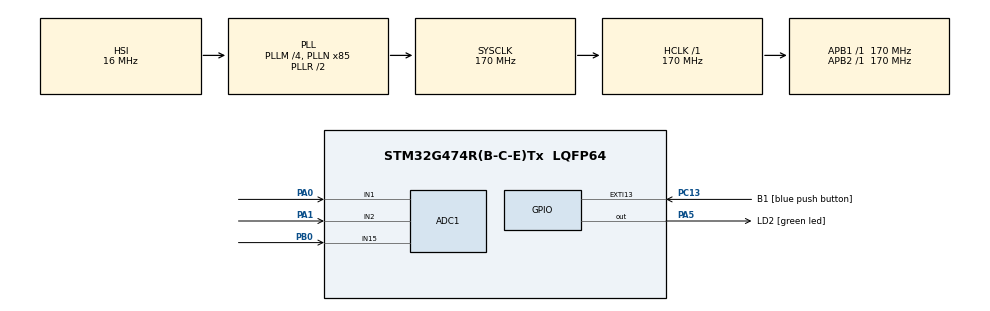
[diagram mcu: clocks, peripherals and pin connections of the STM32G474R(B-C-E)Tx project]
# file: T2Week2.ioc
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ADC1.Channel-0\#ChannelRegularConversion=ADC_CHANNEL_1
ADC1.Channel-1\#ChannelRegularConversion=ADC_CHANNEL_2
ADC1.Channel-2\#ChannelRegularConversion=ADC_CHANNEL_15
ADC1.ContinuousConvMode=ENABLE
ADC1.DMAContinuousRequests=ENABLE
ADC1.DiscontinuousConvMode=DISABLE
ADC1.NbrOfConversion=3
ADC1.NbrOfConversionFlag=1
ADC1.OffsetNumber-0\#ChannelRegularConversion=ADC_OFFSET_NONE
ADC1.OffsetNumber-1\#ChannelRegularConversion=ADC_OFFSET_NONE
ADC1.OffsetNumber-2\#ChannelRegularConversion=ADC_OFFSET_NONE
ADC1.Rank-0\#ChannelRegularConversion=1
ADC1.Rank-1\#ChannelRegularConversion=2
ADC1.Rank-2\#ChannelRegularConversion=3
ADC1.SamplingTime-0\#ChannelRegularConversion=ADC_SAMPLETIME_640CYCLES_5
ADC1.SamplingTime-1\#ChannelRegularConversion=ADC_SAMPLETIME_640CYCLES_5
ADC1.SamplingTime-2\#ChannelRegularConversion=ADC_SAMPLETIME_640CYCLES_5
ADC1.master=1
Dma.ADC1.0.Direction=DMA_PERIPH_TO_MEMORY
Dma.ADC1.0.EventEnable=DISABLE
Dma.ADC1.0.Instance=DMA1_Channel1
Dma.ADC1.0.MemDataAlignment=DMA_MDATAALIGN_HALFWORD
Dma.ADC1.0.MemInc=DMA_MINC_ENABLE
Dma.ADC1.0.Mode=DMA_CIRCULAR
Dma.ADC1.0.PeriphDataAlignment=DMA_PDATAALIGN_HALFWORD
Dma.ADC1.0.PeriphInc=DMA_PINC_DISABLE
Dma.ADC1.0.Polarity=HAL_DMAMUX_REQ_GEN_RISING
Dma.ADC1.0.Priority=DMA_PRIORITY_LOW
Dma.ADC1.0.RequestNumber=1
Dma.ADC1.0.SignalID=NONE
Dma.ADC1.0.SyncEnable=DISABLE
Dma.ADC1.0.SyncPolarity=HAL_DMAMUX_SYNC_NO_EVENT
Dma.ADC1.0.SyncRequestNumber=1
Dma.ADC1.0.SyncSignalID=NONE
Dma.Request0=ADC1
Mcu.Family=STM32G4
Mcu.Name=STM32G474R(B-C-E)Tx
Mcu.Package=LQFP64
NVIC.ADC1_2_IRQn=true\:0\:0\:false\:false\:true\:true\:true\:true
NVIC.DMA1_Channel1_IRQn=true\:0\:0\:false\:false\:true\:false\:true\:true
NVIC.EXTI15_10_IRQn=true\:0\:0\:false\:false\:true\:true\:true\:true
NVIC.PriorityGroup=NVIC_PRIORITYGROUP_4
PA0.Mode=IN1-Single-Ended
PA0.Signal=ADC1_IN1
PA1.Mode=IN2-Single-Ended
PA1.Signal=ADC1_IN2
PA13.GPIO_Label=T_SWDIO
PA13.Signal=SYS_JTMS-SWDIO
PA14.GPIO_Label=T_SWCLK
PA14.Signal=SYS_JTCK-SWCLK
PA2.GPIO_Label=LPUART1_TX [STLINKV3E_VCP_RX]
PA2.Signal=LPUART1_TX
PA3.GPIO_Label=LPUART1_RX [STLINKV3E_VCP_TX]
PA3.Signal=LPUART1_RX
PA5.GPIO_Label=LD2 [green led]
PA5.Signal=GPIO_Output
PB0.Mode=IN15-Single-Ended
PB0.Signal=ADC1_IN15
PB3.GPIO_Label=T_SWO
PB3.Signal=SYS_JTDO-SWO
PC13.GPIO_Label=B1 [blue push button]
PC13.Signal=GPXTI13
PC14-OSC32_IN.GPIO_Label=RCC_OSC32_IN
PC14-OSC32_IN.Signal=RCC_OSC32_IN
PC15-OSC32_OUT.GPIO_Label=RCC_OSC32_OUT
PC15-OSC32_OUT.Signal=RCC_OSC32_OUT
PF0-OSC_IN.GPIO_Label=RCC_OSC_IN
PF0-OSC_IN.Signal=RCC_OSC_IN
PF1-OSC_OUT.GPIO_Label=RCC_OSC_OUT
PF1-OSC_OUT.Signal=RCC_OSC_OUT
ProjectManager.HeapSize=0x200
ProjectManager.StackSize=0x400
ProjectManager.TargetToolchain=STM32CubeIDE
RCC.ADC12Freq_Value=170000000
RCC.ADC345Freq_Value=170000000
RCC.AHBFreq_Value=170000000
RCC.APB1Freq_Value=170000000
RCC.APB1TimFreq_Value=170000000
RCC.APB2Freq_Value=170000000
RCC.APB2TimFreq_Value=170000000
RCC.CortexFreq_Value=170000000
RCC.EXTERNAL_CLOCK_VALUE=12288000
RCC.HCLKFreq_Value=170000000
RCC.HSE_VALUE=24000000
RCC.HSI48_VALUE=48000000
RCC.HSI_VALUE=16000000
RCC.LSE_VALUE=32768
RCC.PLLM=RCC_PLLM_DIV4
RCC.PLLN=85
RCC.RTCClockSelection=RCC_RTCCLKSOURCE_LSE
RCC.SYSCLKFreq_VALUE=170000000
RCC.SYSCLKSource=RCC_SYSCLKSOURCE_PLLCLK
RCC.USBFreq_Value=170000000
RCC.VCOOutputFreq_Value=340000000
VP_ADC1_TempSens_Input.Mode=IN-TempSens
VP_SYS_VS_DBSignals.Mode=DisableDeadBatterySignals
board=NUCLEO-G474RE

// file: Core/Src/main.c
/* USER CODE BEGIN Header */
/**
  ******************************************************************************
  * @file           : main.c
  * @brief          : Main program body
  ******************************************************************************
  * @attention
  *
  * Copyright (c) 2026 STMicroelectronics.
  * All rights reserved.
  *
  * This software is licensed under terms that can be found in the LICENSE file
  * in the root directory of this software component.
  * If no LICENSE file comes with this software, it is provided AS-IS.
  *
  ******************************************************************************
  */
/* USER CODE END Header */
#include "main.h"

ADC_HandleTypeDef hadc1;
DMA_HandleTypeDef hdma_adc1;

/* USER CODE BEGIN PV */

uint16_t ADC_RawRead[15]={0};

enum _ADCRankChenel1
{
eADC1Rank1_Ch1,
eADC1Rank1_Ch2,
eADC1Rank1_Ch15,
eADC1Rank1_ChTemp,
eADC1RankMax
};

typedef struct
{
    uint8_t CurrentRank;           // ลำดับช่องที่กำลังอ่าน
    volatile uint8_t DataReady;    // Flag บอกว่าอ่านครบทุกช่องแล้ว
    uint16_t DataRaw[eADC1RankMax]; // ค่าดิบจาก ADC
    float DataFiltered[3];
} sADC_t;

sADC_t sADC = {0};

/* USER CODE END PV */

void SystemClock_Config(void);
static void MX_GPIO_Init(void);
static void MX_DMA_Init(void);
static void MX_ADC1_Init(void);
/* USER CODE BEGIN PFP */
void HeartBeat_Task();
void ADCProcess_Task();
/* USER CODE END PFP */

int main(void)
{

  /* MCU Configuration--------------------------------------------------------*/

  /* Reset of all peripherals, Initializes the Flash interface and the Systick. */
  HAL_Init();

  /* Configure the system clock */
  SystemClock_Config();

  /* Initialize all configured peripherals */
  MX_GPIO_Init();
  MX_DMA_Init();
  MX_ADC1_Init();
  /* USER CODE BEGIN 2 */
  HAL_ADCEx_Calibration_Start(&hadc1, ADC_SINGLE_ENDED);
  HAL_ADC_Start_DMA(&hadc1, (uint32_t*)ADC_RawRead, 15);
  /* USER CODE END 2 */

  /* Infinite loop */
  while (1)
  {

    /* USER CODE BEGIN 3 */
	  HeartBeat_Task();
	  ADCProcess_Task();
  }
  /* USER CODE END 3 */
}

void SystemClock_Config(void)
{
  RCC_OscInitTypeDef RCC_OscInitStruct = {0};
  RCC_ClkInitTypeDef RCC_ClkInitStruct = {0};

  /** Configure the main internal regulator output voltage
  */
  HAL_PWREx_ControlVoltageScaling(PWR_REGULATOR_VOLTAGE_SCALE1_BOOST);

  /** Initializes the RCC Oscillators according to the specified parameters
  * in the RCC_OscInitTypeDef structure.
  */
  RCC_OscInitStruct.OscillatorType = RCC_OSCILLATORTYPE_HSI;
  RCC_OscInitStruct.HSIState = RCC_HSI_ON;
  RCC_OscInitStruct.HSICalibrationValue = RCC_HSICALIBRATION_DEFAULT;
  RCC_OscInitStruct.PLL.PLLState = RCC_PLL_ON;
  RCC_OscInitStruct.PLL.PLLSource = RCC_PLLSOURCE_HSI;
  RCC_OscInitStruct.PLL.PLLM = RCC_PLLM_DIV4;
  RCC_OscInitStruct.PLL.PLLN = 85;
  RCC_OscInitStruct.PLL.PLLP = RCC_PLLP_DIV2;
  RCC_OscInitStruct.PLL.PLLQ = RCC_PLLQ_DIV2;
  RCC_OscInitStruct.PLL.PLLR = RCC_PLLR_DIV2;
  if (HAL_RCC_OscConfig(&RCC_OscInitStruct) != HAL_OK)
  {
    Error_Handler();
  }

  /** Initializes the CPU, AHB and APB buses clocks
  */
  RCC_ClkInitStruct.ClockType = RCC_CLOCKTYPE_HCLK|RCC_CLOCKTYPE_SYSCLK
                              |RCC_CLOCKTYPE_PCLK1|RCC_CLOCKTYPE_PCLK2;
  RCC_ClkInitStruct.SYSCLKSource = RCC_SYSCLKSOURCE_PLLCLK;
  RCC_ClkInitStruct.AHBCLKDivider = RCC_SYSCLK_DIV1;
  RCC_ClkInitStruct.APB1CLKDivider = RCC_HCLK_DIV1;
  RCC_ClkInitStruct.APB2CLKDivider = RCC_HCLK_DIV1;

  if (HAL_RCC_ClockConfig(&RCC_ClkInitStruct, FLASH_LATENCY_4) != HAL_OK)
  {
    Error_Handler();
  }
}

static void MX_ADC1_Init(void)
{

  ADC_MultiModeTypeDef multimode = {0};
  ADC_ChannelConfTypeDef sConfig = {0};

  /** Common config
  */
  hadc1.Instance = ADC1;
  hadc1.Init.ClockPrescaler = ADC_CLOCK_SYNC_PCLK_DIV4;
  hadc1.Init.Resolution = ADC_RESOLUTION_12B;
  hadc1.Init.DataAlign = ADC_DATAALIGN_RIGHT;
  hadc1.Init.GainCompensation = 0;
  hadc1.Init.ScanConvMode = ADC_SCAN_ENABLE;
  hadc1.Init.EOCSelection = ADC_EOC_SINGLE_CONV;
  hadc1.Init.LowPowerAutoWait = DISABLE;
  hadc1.Init.ContinuousConvMode = ENABLE;
  hadc1.Init.NbrOfConversion = 3;
  hadc1.Init.DiscontinuousConvMode = DISABLE;
  hadc1.Init.ExternalTrigConv = ADC_SOFTWARE_START;
  hadc1.Init.ExternalTrigConvEdge = ADC_EXTERNALTRIGCONVEDGE_NONE;
  hadc1.Init.DMAContinuousRequests = ENABLE;
  hadc1.Init.Overrun = ADC_OVR_DATA_PRESERVED;
  hadc1.Init.OversamplingMode = DISABLE;
  if (HAL_ADC_Init(&hadc1) != HAL_OK)
  {
    Error_Handler();
  }

  /** Configure the ADC multi-mode
  */
  multimode.Mode = ADC_MODE_INDEPENDENT;
  if (HAL_ADCEx_MultiModeConfigChannel(&hadc1, &multimode) != HAL_OK)
  {
    Error_Handler();
  }

  /** Configure Regular Channel
  */
  sConfig.Channel = ADC_CHANNEL_1;
  sConfig.Rank = ADC_REGULAR_RANK_1;
  sConfig.SamplingTime = ADC_SAMPLETIME_640CYCLES_5;
  sConfig.SingleDiff = ADC_SINGLE_ENDED;
  sConfig.OffsetNumber = ADC_OFFSET_NONE;
  sConfig.Offset = 0;
  if (HAL_ADC_ConfigChannel(&hadc1, &sConfig) != HAL_OK)
  {
    Error_Handler();
  }

  /** Configure Regular Channel
  */
  sConfig.Channel = ADC_CHANNEL_2;
  sConfig.Rank = ADC_REGULAR_RANK_2;
  if (HAL_ADC_ConfigChannel(&hadc1, &sConfig) != HAL_OK)
  {
    Error_Handler();
  }

  /** Configure Regular Channel
  */
  sConfig.Channel = ADC_CHANNEL_15;
  sConfig.Rank = ADC_REGULAR_RANK_3;
  if (HAL_ADC_ConfigChannel(&hadc1, &sConfig) != HAL_OK)
  {
    Error_Handler();
  }

}

static void MX_DMA_Init(void)
{

  /* DMA controller clock enable */
  __HAL_RCC_DMAMUX1_CLK_ENABLE();
  __HAL_RCC_DMA1_CLK_ENABLE();

  /* DMA interrupt init */
  /* DMA1_Channel1_IRQn interrupt configuration */
  HAL_NVIC_SetPriority(DMA1_Channel1_IRQn, 0, 0);
  HAL_NVIC_EnableIRQ(DMA1_Channel1_IRQn);

}

static void MX_GPIO_Init(void)
{
  GPIO_InitTypeDef GPIO_InitStruct = {0};

  /* GPIO Ports Clock Enable */
  __HAL_RCC_GPIOC_CLK_ENABLE();
  __HAL_RCC_GPIOF_CLK_ENABLE();
  __HAL_RCC_GPIOA_CLK_ENABLE();
  __HAL_RCC_GPIOB_CLK_ENABLE();

  /*Configure GPIO pin Output Level */
  HAL_GPIO_WritePin(LD2_GPIO_Port, LD2_Pin, GPIO_PIN_RESET);

  /*Configure GPIO pin : B1_Pin */
  GPIO_InitStruct.Pin = B1_Pin;
  GPIO_InitStruct.Mode = GPIO_MODE_IT_RISING;
  GPIO_InitStruct.Pull = GPIO_NOPULL;
  HAL_GPIO_Init(B1_GPIO_Port, &GPIO_InitStruct);

  /*Configure GPIO pins : LPUART1_TX_Pin LPUART1_RX_Pin */
  GPIO_InitStruct.Pin = LPUART1_TX_Pin|LPUART1_RX_Pin;
  GPIO_InitStruct.Mode = GPIO_MODE_AF_PP;
  GPIO_InitStruct.Pull = GPIO_NOPULL;
  GPIO_InitStruct.Speed = GPIO_SPEED_FREQ_LOW;
  GPIO_InitStruct.Alternate = GPIO_AF12_LPUART1;
  HAL_GPIO_Init(GPIOA, &GPIO_InitStruct);

  /*Configure GPIO pin : LD2_Pin */
  GPIO_InitStruct.Pin = LD2_Pin;
  GPIO_InitStruct.Mode = GPIO_MODE_OUTPUT_PP;
  GPIO_InitStruct.Pull = GPIO_NOPULL;
  GPIO_InitStruct.Speed = GPIO_SPEED_FREQ_LOW;
  HAL_GPIO_Init(LD2_GPIO_Port, &GPIO_InitStruct);

  /* EXTI interrupt init*/
  HAL_NVIC_SetPriority(EXTI15_10_IRQn, 0, 0);
  HAL_NVIC_EnableIRQ(EXTI15_10_IRQn);

}

/* USER CODE BEGIN 4 */

/**
 * Task: ADC Process
 * Purpose: Manages the start of the ADC sequence and processes completed data.
 * Note: This function should be called repeatedly in the main while(1) loop.
 */
void ADCProcess_Task()
{
    // Start a new sequence
    // If we are at the first rank (index 0) AND the previous data has been handled (DataReady == 0)
    if(sADC.CurrentRank == eADC1Rank1_Ch1 && sADC.DataReady == 0)
    {
        // Start the ADC in Interrupt mode.
        // This is non-blocking; the code continues immediately, and
        // the ISR (Callback) will fire when the conversion finishes.
        HAL_ADC_Start_IT(&hadc1);
    }

    // Process completed data
    // If the Callback indicates the sequence is finished (DataReady == 1)
    if(sADC.DataReady)
    {
        // -----------------------------------------------------------
        // TODO: Process data HERE
        // -----------------------------------------------------------

    	uint32_t sum1 = 0, sum2 = 0, sum3 = 0;

    	for (int i = 0; i < 15; i += 3) {
    	    sum1 += ADC_RawRead[i];     // เก็บ 0, 3, 6, 9, 12
    	    sum2 += ADC_RawRead[i + 1]; // เก็บ 1, 4, 7, 10, 13
    	    sum3 += ADC_RawRead[i + 2]; // เก็บ 2, 5, 8, 11, 14
    	}

    	float ch1 = sum1 / 5;
    	float ch2 = sum2 / 5;
    	float ch15 = sum3 / 5;

    	sADC.DataFiltered[0]=(ch1 * 3300) / 4095;
    	sADC.DataFiltered[1]=(ch2 * 100.0f) / 4095.0f;
    	sADC.DataFiltered[2]=((ch15 * 3300) / 4095 - ((ch1 * 3300) / 4095));

    	sADC.DataReady = 0;
    }
}

/**
 * Task: HeartBeat
 * Purpose: Toggles an LED every 500ms to indicate the system is running.
 * Logic: Uses a "non-blocking" delay pattern (checking timestamps)
 * instead of HAL_Delay() to allow other tasks to run.
 */
void HeartBeat_Task()
{
    // 'static' ensures this variable keeps its value between function calls
    static uint32_t timestamp = 0;

    // Check if 500ms has passed since the last toggle
    // HAL_GetTick() returns the number of milliseconds since startup
    if(HAL_GetTick() - timestamp >= 500)
    {
        // Update timestamp to current time for the next cycle
        timestamp = HAL_GetTick();

        // Toggle PA5 (Commonly the onboard LED on Nucleo boards)
        HAL_GPIO_TogglePin(GPIOA, GPIO_PIN_5);
    }
}

/**
 * ADC Conversion Complete Callback
 * This function is called by the HAL driver when a conversion is finished.
 */
void HAL_ADC_ConvCpltCallback(ADC_HandleTypeDef* hadc)
{
    // Ensure this interrupt was triggered by ADC1
    if(hadc == &hadc1)
    {
        // Store the result in the array at the current index
        sADC.DataRaw[sADC.CurrentRank] = HAL_ADC_GetValue(hadc);

        // Move to the next index (Rank)
        sADC.CurrentRank++;

        // Decide: Continue or Stop?
        if(sADC.CurrentRank < eADC1RankMax)
        {
            // CASE: We are not finished with the sequence yet.
            // Re-trigger the ADC for the next sample.
            HAL_ADC_Start_IT(hadc);
        }
        else
        {
            // CASE: Sequence complete (Max Rank reached).
            // Reset the rank index back to 0 (Start)
            sADC.CurrentRank = eADC1Rank1_Ch1;

            // Set flag to tell the Main Loop (ADCProcess_Task) that data is ready
            sADC.DataReady = 1;
        }
    }
}

/* USER CODE END 4 */

void Error_Handler(void)
{
  __disable_irq();
  while (1)
  {
  }
}
